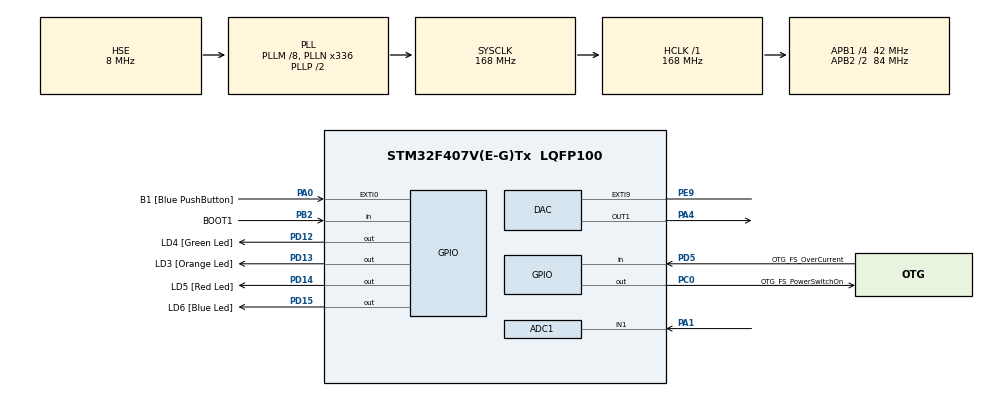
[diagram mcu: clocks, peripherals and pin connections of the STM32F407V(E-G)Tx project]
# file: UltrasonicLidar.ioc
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ADC1.Channel-0\#ChannelRegularConversion=ADC_CHANNEL_1
ADC1.DMAContinuousRequests=ENABLE
ADC1.ExternalTrigConv=ADC_EXTERNALTRIGCONV_T2_TRGO
ADC1.NbrOfConversion=1
ADC1.NbrOfConversionFlag=1
ADC1.Rank-0\#ChannelRegularConversion=1
ADC1.SamplingTime-0\#ChannelRegularConversion=ADC_SAMPLETIME_3CYCLES
ADC1.master=1
DAC.DAC_Trigger=DAC_TRIGGER_T2_TRGO
Dma.ADC1.1.Direction=DMA_PERIPH_TO_MEMORY
Dma.ADC1.1.FIFOMode=DMA_FIFOMODE_DISABLE
Dma.ADC1.1.Instance=DMA2_Stream0
Dma.ADC1.1.MemDataAlignment=DMA_MDATAALIGN_HALFWORD
Dma.ADC1.1.MemInc=DMA_MINC_ENABLE
Dma.ADC1.1.Mode=DMA_CIRCULAR
Dma.ADC1.1.PeriphDataAlignment=DMA_PDATAALIGN_HALFWORD
Dma.ADC1.1.PeriphInc=DMA_PINC_DISABLE
Dma.ADC1.1.Priority=DMA_PRIORITY_VERY_HIGH
Dma.DAC1.0.Direction=DMA_MEMORY_TO_PERIPH
Dma.DAC1.0.FIFOMode=DMA_FIFOMODE_DISABLE
Dma.DAC1.0.Instance=DMA1_Stream5
Dma.DAC1.0.MemDataAlignment=DMA_MDATAALIGN_HALFWORD
Dma.DAC1.0.MemInc=DMA_MINC_ENABLE
Dma.DAC1.0.Mode=DMA_CIRCULAR
Dma.DAC1.0.PeriphDataAlignment=DMA_PDATAALIGN_HALFWORD
Dma.DAC1.0.PeriphInc=DMA_PINC_DISABLE
Dma.DAC1.0.Priority=DMA_PRIORITY_HIGH
Dma.Request0=DAC1
Dma.Request1=ADC1
Mcu.Family=STM32F4
Mcu.Name=STM32F407V(E-G)Tx
Mcu.Package=LQFP100
NVIC.DMA1_Stream5_IRQn=true\:0\:0\:false\:false\:true\:false\:true
NVIC.DMA2_Stream0_IRQn=true\:0\:0\:false\:false\:true\:false\:true
NVIC.PriorityGroup=NVIC_PRIORITYGROUP_0
NVIC.TIM6_DAC_IRQn=true\:0\:0\:false\:false\:true\:true\:true
PA0-WKUP.GPIO_Label=B1 [Blue PushButton]
PA0-WKUP.GPIO_ModeDefaultEXTI=GPIO_MODE_EVT_RISING
PA0-WKUP.GPIO_PuPd=GPIO_NOPULL
PA0-WKUP.Signal=GPXTI0
PA1.Signal=ADCx_IN1
PA10.GPIO_Label=OTG_FS_ID
PA10.GPIO_Mode=GPIO_MODE_AF_PP
PA10.GPIO_PuPd=GPIO_NOPULL
PA10.GPIO_Speed=GPIO_SPEED_FREQ_LOW
PA10.Signal=USB_OTG_FS_ID
PA11.GPIO_Label=OTG_FS_DM
PA11.GPIO_Mode=GPIO_MODE_AF_PP
PA11.GPIO_PuPd=GPIO_NOPULL
PA11.GPIO_Speed=GPIO_SPEED_FREQ_LOW
PA11.Signal=USB_OTG_FS_DM
PA12.GPIO_Label=OTG_FS_DP
PA12.GPIO_Mode=GPIO_MODE_AF_PP
PA12.GPIO_PuPd=GPIO_NOPULL
PA12.GPIO_Speed=GPIO_SPEED_FREQ_LOW
PA12.Signal=USB_OTG_FS_DP
PA13.GPIO_Label=SWDIO
PA13.Mode=Serial_Wire
PA13.Signal=SYS_JTMS-SWDIO
PA14.GPIO_Label=SWCLK
PA14.Mode=Serial_Wire
PA14.Signal=SYS_JTCK-SWCLK
PA4.Signal=COMP_DAC1_group
PA9.GPIO_Label=VBUS_FS
PA9.GPIO_Mode=GPIO_MODE_INPUT
PA9.GPIO_PuPd=GPIO_NOPULL
PA9.Signal=USB_OTG_FS_VBUS
PB2.GPIO_Label=BOOT1
PB2.GPIO_Mode=GPIO_MODE_INPUT
PB2.GPIO_PuPd=GPIO_NOPULL
PB2.Signal=GPIO_Input
PB3.GPIO_Label=SWO
PB3.Signal=SYS_JTDO-SWO
PC0.GPIO_Label=OTG_FS_PowerSwitchOn
PC0.GPIO_PuPd=GPIO_NOPULL
PC0.GPIO_Speed=GPIO_SPEED_FREQ_LOW
PC0.PinState=GPIO_PIN_SET
PC0.Signal=GPIO_Output
PC14-OSC32_IN.Signal=RCC_OSC32_IN
PC15-OSC32_OUT.Signal=RCC_OSC32_OUT
PD12.GPIO_Label=LD4 [Green Led]
PD12.GPIO_PuPd=GPIO_NOPULL
PD12.GPIO_Speed=GPIO_SPEED_FREQ_LOW
PD12.Signal=GPIO_Output
PD13.GPIO_Label=LD3 [Orange Led]
PD13.GPIO_PuPd=GPIO_NOPULL
PD13.GPIO_Speed=GPIO_SPEED_FREQ_LOW
PD13.Signal=GPIO_Output
PD14.GPIO_Label=LD5 [Red Led]
PD14.GPIO_PuPd=GPIO_NOPULL
PD14.GPIO_Speed=GPIO_SPEED_FREQ_LOW
PD14.Signal=GPIO_Output
PD15.GPIO_Label=LD6 [Blue Led]
PD15.GPIO_PuPd=GPIO_NOPULL
PD15.GPIO_Speed=GPIO_SPEED_FREQ_LOW
PD15.Signal=GPIO_Output
PD5.GPIO_Label=OTG_FS_OverCurrent
PD5.GPIO_Mode=GPIO_MODE_INPUT
PD5.GPIO_PuPd=GPIO_NOPULL
PD5.Signal=GPIO_Input
PE9.Signal=GPXTI9
PH0-OSC_IN.GPIO_Label=PH0-OSC_IN
PH0-OSC_IN.Mode=HSE-External-Oscillator
PH0-OSC_IN.Signal=RCC_OSC_IN
PH1-OSC_OUT.GPIO_Label=PH1-OSC_OUT
PH1-OSC_OUT.Mode=HSE-External-Oscillator
PH1-OSC_OUT.Signal=RCC_OSC_OUT
ProjectManager.HeapSize=0x200
ProjectManager.StackSize=0x400
ProjectManager.TargetToolchain=Makefile
RCC.48MHZClocksFreq_Value=48000000
RCC.AHBFreq_Value=168000000
RCC.APB1CLKDivider=RCC_HCLK_DIV4
RCC.APB1Freq_Value=42000000
RCC.APB1TimFreq_Value=84000000
RCC.APB2CLKDivider=RCC_HCLK_DIV2
RCC.APB2Freq_Value=84000000
RCC.APB2TimFreq_Value=168000000
RCC.CortexFreq_Value=168000000
RCC.HCLKFreq_Value=168000000
RCC.HSE_VALUE=8000000
RCC.HSI_VALUE=16000000
RCC.PLLM=8
RCC.PLLN=336
RCC.PLLQ=7
RCC.PLLSourceVirtual=RCC_PLLSOURCE_HSE
RCC.SYSCLKFreq_VALUE=168000000
RCC.SYSCLKSource=RCC_SYSCLKSOURCE_PLLCLK
RCC.VCOOutputFreq_Value=336000000
SH.ADCx_IN1.0=ADC1_IN1,IN1
SH.COMP_DAC1_group.0=DAC_OUT1,DAC_OUT1
TIM2.TIM_MasterOutputTrigger=TIM_TRGO_UPDATE
TIM2.TIM_MasterSlaveMode=TIM_MASTERSLAVEMODE_DISABLE
VP_TIM2_VS_ClockSourceINT.Mode=Internal
VP_TIM6_VS_ClockSourceINT.Mode=Enable_Timer
board=STM32F4DISCOVERY

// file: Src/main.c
/* USER CODE BEGIN Header */
/**
  ******************************************************************************
  * @file           : main.c
  * @brief          : Main program body
  ******************************************************************************
  * @attention
  *
  * <h2><center>&copy; Copyright (c) 2019 STMicroelectronics.
  * All rights reserved.</center></h2>
  *
  * This software component is licensed by ST under BSD 3-Clause license,
  * the "License"; You may not use this file except in compliance with the
  * License. You may obtain a copy of the License at:
  *                        opensource.org/licenses/BSD-3-Clause
  *
  ******************************************************************************
  */
/* USER CODE END Header */

#include <stdio.h>
#include <stdlib.h>
#include "main.h"
#include "math.h"

/* USER CODE BEGIN PTD */
typedef struct
{
	float real;
	float img;
} Complex_t;

/* USER CODE END PTD */

/* USER CODE BEGIN PD */
#define SAMPLING_FREQ 120000
#define CARRIER_FREQ 40000
#define START_FREQ 16
#define STOP_FREQ 4096
#define FREQ_STEPS 16
#define FREQ_BAND (STOP_FREQ - START_FREQ)
#define NUM_OF_FREQS (1 + FREQ_BAND / FREQ_STEPS)
#define GROUP_ELEMENT_COUNT 8
#define GROUP_BAND (FREQ_STEPS * GROUP_ELEMENT_COUNT)
#define GROUP_COUNT (NUM_OF_FREQS / GROUP_ELEMENT_COUNT)
#define SAMPLE_POINTS (SAMPLING_FREQ / FREQ_STEPS)
#define BUFFER_ELEMENT_COUNT (SAMPLE_POINTS * 2)
#define TRANSFER_COMPLETED_EVT ((uint16_t)(1U << 0))

/* USER CODE END PD */

ADC_HandleTypeDef hadc1;
DMA_HandleTypeDef hdma_adc1;

DAC_HandleTypeDef hdac;
DMA_HandleTypeDef hdma_dac1;

TIM_HandleTypeDef htim2;
TIM_HandleTypeDef htim6;

/* USER CODE BEGIN PV */
uint16_t ADCBuffer[BUFFER_ELEMENT_COUNT];
uint16_t DACTable[BUFFER_ELEMENT_COUNT];

Complex_t FreqResponse[NUM_OF_FREQS];

float Signal[NUM_OF_FREQS];

volatile uint16_t Flags;
uint32_t TickDifferenceTable;
uint32_t TickDifferenceFreqResp;
uint32_t TickDifferenceWait;

/* USER CODE END PV */

void SystemClock_Config(void);
static void MX_GPIO_Init(void);
static void MX_DMA_Init(void);
static void MX_ADC1_Init(void);
static void MX_DAC_Init(void);
static void MX_TIM2_Init(void);
static void MX_TIM6_Init(void);

/* USER CODE BEGIN PFP */
void StartADC(void);
void StartDAC(void);
void StartMasterTimer(void);
void StopMasterTimer(void);

void CreateDACTable(uint16_t startFreq, uint16_t freqSteps, uint16_t numOfFreqs,
				    uint32_t samplingFreq, uint32_t carrierFreq, uint16_t *table,
					uint16_t *elementCount);

void CalculateFreqResponse(Complex_t *respVector, uint16_t startFreq, uint16_t freqSteps,
				  uint16_t numOfFreqs, uint32_t samplingFreq, uint16_t carrierFreq,
				  uint16_t *buffer, uint16_t elementCount);

void IFFT(Complex_t *respVector, uint16_t startFreq, uint16_t freqSteps,
		  uint16_t numOfFreqs, uint16_t resolution, float *signal);

/* USER CODE END PFP */

int main(void)
{

  /* MCU Configuration--------------------------------------------------------*/

  /* Reset of all peripherals, Initializes the Flash interface and the Systick. */
  HAL_Init();

  /* Configure the system clock */
  SystemClock_Config();

  /* Initialize all configured peripherals */
  MX_GPIO_Init();
  MX_DMA_Init();
  MX_ADC1_Init();
  MX_DAC_Init();
  MX_TIM2_Init();
  MX_TIM6_Init();

  /* USER CODE END 2 */
  Flags = 0;
  uint16_t element_count;

  StartADC();
  StartDAC();

  // Create DAC table for the first group.
  CreateDACTable(START_FREQ, FREQ_STEPS, GROUP_ELEMENT_COUNT,
  		  		 SAMPLING_FREQ, CARRIER_FREQ, &DACTable[0],
  				 &element_count);

  StartMasterTimer();

  /* Infinite loop */
  /* USER CODE BEGIN WHILE */
  while (1)
  {
	  // For each frequency group obtain response.
	  for (uint8_t g = 0; g < GROUP_COUNT; g++)
	  {
		  uint16_t dac_start_freq;
		  uint16_t adc_start_freq;
		  uint16_t dac_buff_offset;
		  uint16_t adc_buff_offset;
		  uint32_t tick_hold;

		  dac_start_freq = (((g + 1) == GROUP_COUNT) ? 0: g+1) * GROUP_BAND + START_FREQ;
		  dac_buff_offset = SAMPLE_POINTS * ((g + 1) & 0x0001);

		  tick_hold = HAL_GetTick();

		  // Create DAC table for the next group.
		  CreateDACTable(dac_start_freq, FREQ_STEPS, GROUP_ELEMENT_COUNT,
		  				 SAMPLING_FREQ, CARRIER_FREQ, &DACTable[dac_buff_offset],
						 &element_count);

		  TickDifferenceTable = HAL_GetTick() - tick_hold;

		  tick_hold = HAL_GetTick();

		  // Wait until transfer is completed.
		  while (!(Flags & TRANSFER_COMPLETED_EVT));
		  Flags ^= TRANSFER_COMPLETED_EVT;

		  TickDifferenceWait = HAL_GetTick() - tick_hold;

		  tick_hold = HAL_GetTick();

		  adc_buff_offset = SAMPLE_POINTS * (g & 0x0001);
		  adc_start_freq = g * GROUP_BAND + START_FREQ;

		  // Calculate frequency response.
		  CalculateFreqResponse(&FreqResponse[g * GROUP_ELEMENT_COUNT],
				  	  	  	    adc_start_freq, FREQ_STEPS,
								GROUP_ELEMENT_COUNT, SAMPLING_FREQ, CARRIER_FREQ,
								&ADCBuffer[adc_buff_offset], element_count);

		  TickDifferenceFreqResp = HAL_GetTick() - tick_hold;
	  }

	  IFFT(FreqResponse, START_FREQ, FREQ_STEPS, NUM_OF_FREQS,
	  	   NUM_OF_FREQS, Signal);
  }

}

void StartADC(void)
{
	// Start ADC.
	if(HAL_ADC_Start_DMA(&hadc1, (uint32_t *)ADCBuffer,
			BUFFER_ELEMENT_COUNT) != HAL_OK)
	{
		while(1);
	}
}

void StartDAC(void)
{
	// Start DAC.
	if (HAL_DAC_Start_DMA(&hdac, DAC_CHANNEL_1,
			(uint32_t *)DACTable, BUFFER_ELEMENT_COUNT, DAC_ALIGN_12B_R) != HAL_OK)
	{
		while(1);
	}
}

void StartMasterTimer(void)
{
	// Start time base.
	if(HAL_TIM_Base_Start(&htim2) != HAL_OK)
	{
		while(1);
	}
}

void StopMasterTimer(void)
{
	if (HAL_TIM_Base_Stop(&htim2) != HAL_OK)
	{
		while (1);
	}
}

void SystemClock_Config(void)
{
  RCC_OscInitTypeDef RCC_OscInitStruct = {0};
  RCC_ClkInitTypeDef RCC_ClkInitStruct = {0};

  /** Configure the main internal regulator output voltage
  */
  __HAL_RCC_PWR_CLK_ENABLE();
  __HAL_PWR_VOLTAGESCALING_CONFIG(PWR_REGULATOR_VOLTAGE_SCALE1);
  /** Initializes the CPU, AHB and APB busses clocks
  */
  RCC_OscInitStruct.OscillatorType = RCC_OSCILLATORTYPE_HSE;
  RCC_OscInitStruct.HSEState = RCC_HSE_ON;
  RCC_OscInitStruct.PLL.PLLState = RCC_PLL_ON;
  RCC_OscInitStruct.PLL.PLLSource = RCC_PLLSOURCE_HSE;
  RCC_OscInitStruct.PLL.PLLM = 8;
  RCC_OscInitStruct.PLL.PLLN = 336;
  RCC_OscInitStruct.PLL.PLLP = RCC_PLLP_DIV2;
  RCC_OscInitStruct.PLL.PLLQ = 7;
  if (HAL_RCC_OscConfig(&RCC_OscInitStruct) != HAL_OK)
  {
    Error_Handler();
  }
  /** Initializes the CPU, AHB and APB busses clocks
  */
  RCC_ClkInitStruct.ClockType = RCC_CLOCKTYPE_HCLK|RCC_CLOCKTYPE_SYSCLK
                              |RCC_CLOCKTYPE_PCLK1|RCC_CLOCKTYPE_PCLK2;
  RCC_ClkInitStruct.SYSCLKSource = RCC_SYSCLKSOURCE_PLLCLK;
  RCC_ClkInitStruct.AHBCLKDivider = RCC_SYSCLK_DIV1;
  RCC_ClkInitStruct.APB1CLKDivider = RCC_HCLK_DIV4;
  RCC_ClkInitStruct.APB2CLKDivider = RCC_HCLK_DIV2;

  if (HAL_RCC_ClockConfig(&RCC_ClkInitStruct, FLASH_LATENCY_5) != HAL_OK)
  {
    Error_Handler();
  }
}

static void MX_ADC1_Init(void)
{

  ADC_ChannelConfTypeDef sConfig = {0};

  /** Configure the global features of the ADC (Clock, Resolution, Data Alignment and number of conversion)
  */
  hadc1.Instance = ADC1;
  hadc1.Init.ClockPrescaler = ADC_CLOCK_SYNC_PCLK_DIV4;
  hadc1.Init.Resolution = ADC_RESOLUTION_12B;
  hadc1.Init.ScanConvMode = DISABLE;
  hadc1.Init.ContinuousConvMode = DISABLE;
  hadc1.Init.DiscontinuousConvMode = DISABLE;
  hadc1.Init.ExternalTrigConvEdge = ADC_EXTERNALTRIGCONVEDGE_RISING;
  hadc1.Init.ExternalTrigConv = ADC_EXTERNALTRIGCONV_T2_TRGO;
  hadc1.Init.DataAlign = ADC_DATAALIGN_RIGHT;
  hadc1.Init.NbrOfConversion = 1;
  hadc1.Init.DMAContinuousRequests = ENABLE;
  hadc1.Init.EOCSelection = ADC_EOC_SINGLE_CONV;
  if (HAL_ADC_Init(&hadc1) != HAL_OK)
  {
    Error_Handler();
  }
  /** Configure for the selected ADC regular channel its corresponding rank in the sequencer and its sample time.
  */
  sConfig.Channel = ADC_CHANNEL_1;
  sConfig.Rank = 1;
  sConfig.SamplingTime = ADC_SAMPLETIME_15CYCLES;
  if (HAL_ADC_ConfigChannel(&hadc1, &sConfig) != HAL_OK)
  {
    Error_Handler();
  }

}

static void MX_DAC_Init(void)
{

  DAC_ChannelConfTypeDef sConfig = {0};

  /** DAC Initialization
  */
  hdac.Instance = DAC;
  if (HAL_DAC_Init(&hdac) != HAL_OK)
  {
    Error_Handler();
  }
  /** DAC channel OUT1 config
  */
  sConfig.DAC_Trigger = DAC_TRIGGER_T2_TRGO;
  sConfig.DAC_OutputBuffer = DAC_OUTPUTBUFFER_ENABLE;
  if (HAL_DAC_ConfigChannel(&hdac, &sConfig, DAC_CHANNEL_1) != HAL_OK)
  {
    Error_Handler();
  }

}

static void MX_TIM2_Init(void)
{

  TIM_ClockConfigTypeDef sClockSourceConfig = {0};
  TIM_MasterConfigTypeDef sMasterConfig = {0};

  htim2.Instance = TIM2;
  htim2.Init.Prescaler = 0;
  htim2.Init.CounterMode = TIM_COUNTERMODE_UP;
  htim2.Init.Period = (84000000 / SAMPLING_FREQ);
  htim2.Init.ClockDivision = TIM_CLOCKDIVISION_DIV1;
  htim2.Init.AutoReloadPreload = TIM_AUTORELOAD_PRELOAD_DISABLE;
  if (HAL_TIM_Base_Init(&htim2) != HAL_OK)
  {
    Error_Handler();
  }
  sClockSourceConfig.ClockSource = TIM_CLOCKSOURCE_INTERNAL;
  if (HAL_TIM_ConfigClockSource(&htim2, &sClockSourceConfig) != HAL_OK)
  {
    Error_Handler();
  }
  sMasterConfig.MasterOutputTrigger = TIM_TRGO_UPDATE;
  sMasterConfig.MasterSlaveMode = TIM_MASTERSLAVEMODE_DISABLE;
  if (HAL_TIMEx_MasterConfigSynchronization(&htim2, &sMasterConfig) != HAL_OK)
  {
    Error_Handler();
  }

}

static void MX_TIM6_Init(void)
{

  TIM_MasterConfigTypeDef sMasterConfig = {0};

  htim6.Instance = TIM6;
  htim6.Init.Prescaler = 0;
  htim6.Init.CounterMode = TIM_COUNTERMODE_UP;
  htim6.Init.Period = 0;
  htim6.Init.AutoReloadPreload = TIM_AUTORELOAD_PRELOAD_DISABLE;
  if (HAL_TIM_Base_Init(&htim6) != HAL_OK)
  {
    Error_Handler();
  }
  sMasterConfig.MasterOutputTrigger = TIM_TRGO_RESET;
  sMasterConfig.MasterSlaveMode = TIM_MASTERSLAVEMODE_DISABLE;
  if (HAL_TIMEx_MasterConfigSynchronization(&htim6, &sMasterConfig) != HAL_OK)
  {
    Error_Handler();
  }

}

static void MX_DMA_Init(void)
{
  /* DMA controller clock enable */
  __HAL_RCC_DMA1_CLK_ENABLE();
  __HAL_RCC_DMA2_CLK_ENABLE();

  /* DMA interrupt init */
  /* DMA1_Stream5_IRQn interrupt configuration */
  HAL_NVIC_SetPriority(DMA1_Stream5_IRQn, 0, 0);
  HAL_NVIC_EnableIRQ(DMA1_Stream5_IRQn);
  /* DMA2_Stream0_IRQn interrupt configuration */
  HAL_NVIC_SetPriority(DMA2_Stream0_IRQn, 0, 0);
  HAL_NVIC_EnableIRQ(DMA2_Stream0_IRQn);

}

static void MX_GPIO_Init(void)
{
  GPIO_InitTypeDef GPIO_InitStruct = {0};

  /* GPIO Ports Clock Enable */
  __HAL_RCC_GPIOC_CLK_ENABLE();
  __HAL_RCC_GPIOH_CLK_ENABLE();
  __HAL_RCC_GPIOA_CLK_ENABLE();
  __HAL_RCC_GPIOB_CLK_ENABLE();
  __HAL_RCC_GPIOE_CLK_ENABLE();
  __HAL_RCC_GPIOD_CLK_ENABLE();

  /*Configure GPIO pin Output Level */
  HAL_GPIO_WritePin(OTG_FS_PowerSwitchOn_GPIO_Port, OTG_FS_PowerSwitchOn_Pin, GPIO_PIN_SET);

  /*Configure GPIO pin Output Level */
  HAL_GPIO_WritePin(GPIOD, LD4_Pin|LD3_Pin|LD5_Pin|LD6_Pin, GPIO_PIN_RESET);

  /*Configure GPIO pin : OTG_FS_PowerSwitchOn_Pin */
  GPIO_InitStruct.Pin = OTG_FS_PowerSwitchOn_Pin;
  GPIO_InitStruct.Mode = GPIO_MODE_OUTPUT_PP;
  GPIO_InitStruct.Pull = GPIO_NOPULL;
  GPIO_InitStruct.Speed = GPIO_SPEED_FREQ_LOW;
  HAL_GPIO_Init(OTG_FS_PowerSwitchOn_GPIO_Port, &GPIO_InitStruct);

  /*Configure GPIO pin : B1_Pin */
  GPIO_InitStruct.Pin = B1_Pin;
  GPIO_InitStruct.Mode = GPIO_MODE_EVT_RISING;
  GPIO_InitStruct.Pull = GPIO_NOPULL;
  HAL_GPIO_Init(B1_GPIO_Port, &GPIO_InitStruct);

  /*Configure GPIO pin : BOOT1_Pin */
  GPIO_InitStruct.Pin = BOOT1_Pin;
  GPIO_InitStruct.Mode = GPIO_MODE_INPUT;
  GPIO_InitStruct.Pull = GPIO_NOPULL;
  HAL_GPIO_Init(BOOT1_GPIO_Port, &GPIO_InitStruct);

  /*Configure GPIO pin : PE9 */
  GPIO_InitStruct.Pin = GPIO_PIN_9;
  GPIO_InitStruct.Mode = GPIO_MODE_IT_RISING;
  GPIO_InitStruct.Pull = GPIO_NOPULL;
  HAL_GPIO_Init(GPIOE, &GPIO_InitStruct);

  /*Configure GPIO pins : LD4_Pin LD3_Pin LD5_Pin LD6_Pin */
  GPIO_InitStruct.Pin = LD4_Pin|LD3_Pin|LD5_Pin|LD6_Pin;
  GPIO_InitStruct.Mode = GPIO_MODE_OUTPUT_PP;
  GPIO_InitStruct.Pull = GPIO_NOPULL;
  GPIO_InitStruct.Speed = GPIO_SPEED_FREQ_LOW;
  HAL_GPIO_Init(GPIOD, &GPIO_InitStruct);

  /*Configure GPIO pin : VBUS_FS_Pin */
  GPIO_InitStruct.Pin = VBUS_FS_Pin;
  GPIO_InitStruct.Mode = GPIO_MODE_INPUT;
  GPIO_InitStruct.Pull = GPIO_NOPULL;
  HAL_GPIO_Init(VBUS_FS_GPIO_Port, &GPIO_InitStruct);

  /*Configure GPIO pins : OTG_FS_ID_Pin OTG_FS_DM_Pin OTG_FS_DP_Pin */
  GPIO_InitStruct.Pin = OTG_FS_ID_Pin|OTG_FS_DM_Pin|OTG_FS_DP_Pin;
  GPIO_InitStruct.Mode = GPIO_MODE_AF_PP;
  GPIO_InitStruct.Pull = GPIO_NOPULL;
  GPIO_InitStruct.Speed = GPIO_SPEED_FREQ_LOW;
  GPIO_InitStruct.Alternate = GPIO_AF10_OTG_FS;
  HAL_GPIO_Init(GPIOA, &GPIO_InitStruct);

  /*Configure GPIO pin : OTG_FS_OverCurrent_Pin */
  GPIO_InitStruct.Pin = OTG_FS_OverCurrent_Pin;
  GPIO_InitStruct.Mode = GPIO_MODE_INPUT;
  GPIO_InitStruct.Pull = GPIO_NOPULL;
  HAL_GPIO_Init(OTG_FS_OverCurrent_GPIO_Port, &GPIO_InitStruct);

}

/* USER CODE BEGIN 4 */
void HAL_ADC_ConvHalfCpltCallback(ADC_HandleTypeDef* hadc)
{
  /* Prevent unused argument(s) compilation warning */
  UNUSED(hadc);
  Flags |= TRANSFER_COMPLETED_EVT;
}

/* USER CODE BEGIN 4 */
void HAL_ADC_ConvCpltCallback(ADC_HandleTypeDef* hadc)
{
  /* Prevent unused argument(s) compilation warning */
  UNUSED(hadc);
  Flags |= TRANSFER_COMPLETED_EVT;
}
/* USER CODE END 4 */

void Error_Handler(void)
{
}

void CalculateFreqResponse(Complex_t *respVector, uint16_t startFreq, uint16_t freqSteps,
				  uint16_t numOfFreqs, uint32_t samplingFreq, uint16_t carrierFreq,
				  uint16_t *buffer, uint16_t elementCount)
{
	const float two_pi = 2 * 3.1415926535897;
	float intermediate_signal;
	float sum_x;
	float sum_y;
	float tmp_x;
	Complex_t carrier_phasor;
	Complex_t if_phasor;
	Complex_t carrier_rotate;
	Complex_t if_rotate;

	carrier_rotate.real = cos((two_pi * carrierFreq) / samplingFreq);
	carrier_rotate.img = -sin((two_pi * carrierFreq) / samplingFreq);

	// Demodulate and find frequency response.
	for (uint16_t i = 0; i < numOfFreqs; i++)
	{
		sum_x = 0;
		sum_y = 0;

		carrier_phasor.real = 1.0;
		carrier_phasor.img = 0.0;
		if_phasor.real = 1.0;
		if_phasor.img = 0.0;

		if_rotate.real = cos((two_pi * (startFreq + freqSteps * i)) / samplingFreq);
		if_rotate.img = -sin((two_pi * (startFreq + freqSteps * i)) / samplingFreq);

		for (uint16_t j = 0; j < elementCount; j++)
		{
			intermediate_signal = buffer[j] * carrier_phasor.real;

			sum_x += intermediate_signal * if_phasor.real;
			sum_y += intermediate_signal * if_phasor.img;

			// Rotate carrier and intermediate signal.
			tmp_x = carrier_phasor.real * carrier_rotate.real - carrier_phasor.img * carrier_rotate.img;
			carrier_phasor.img = carrier_phasor.real * carrier_rotate.img + carrier_phasor.img * carrier_rotate.real;
			carrier_phasor.real = tmp_x;

			tmp_x = if_phasor.real * if_rotate.real - if_phasor.img * if_rotate.img;
			if_phasor.img  = if_phasor.real * if_rotate.img + if_phasor.img * if_rotate.real;
			if_phasor.real = tmp_x;
		}

		respVector[i].real = sum_x;
		respVector[i].img = sum_y;
	}
}

void CreateDACTable(uint16_t startFreq, uint16_t freqSteps, uint16_t numOfFreqs,
				    uint32_t samplingFreq, uint32_t carrierFreq, uint16_t *table,
					uint16_t *elementCount)
{
	uint16_t __element_count;
	uint16_t dac_value;
	Complex_t start_freq_phasor;
	Complex_t start_freq_rotate;
	Complex_t freq_step_phasor;
	Complex_t freq_step_rotate;
	Complex_t diff_freq_phasor;
	Complex_t carrier_phasor;
	Complex_t carrier_rotate;

	float tmp_x;
	float sum;
	const float two_pi = 2 * 3.1415926535897;
	const float safety_scale = 0.999;
	float scale;

	__element_count = samplingFreq / freqSteps;

	scale = safety_scale / numOfFreqs;

	carrier_phasor.real = 1.0;
	carrier_phasor.img = 0.0;
	start_freq_phasor.real = 1.0;
	start_freq_phasor.img = 0.0;
	freq_step_phasor.real = 1.0;
	freq_step_phasor.img = 0.0;

	start_freq_rotate.real = cos(two_pi * startFreq / samplingFreq);
	start_freq_rotate.img = sin(two_pi * startFreq / samplingFreq);
	freq_step_rotate.real = cos(two_pi * freqSteps / samplingFreq);
	freq_step_rotate.img = sin(two_pi * freqSteps / samplingFreq);
	carrier_rotate.real = cos(two_pi * carrierFreq / samplingFreq);
	carrier_rotate.img = sin(two_pi * carrierFreq / samplingFreq);

	for (uint16_t i = 0; i < __element_count; i++)
	{
		sum = 0.0f;

		diff_freq_phasor.real = start_freq_phasor.real;
		diff_freq_phasor.img = start_freq_phasor.img;

		// Sum different frequency components.
		for (uint16_t j = 0; j < numOfFreqs; j++)
		{
			sum += diff_freq_phasor.real;

			// Rotate to obtain for different frequencies.
			tmp_x = diff_freq_phasor.real * freq_step_phasor.real - diff_freq_phasor.img * freq_step_phasor.img;
			diff_freq_phasor.img = diff_freq_phasor.real * freq_step_phasor.img + diff_freq_phasor.img * freq_step_phasor.real;
			diff_freq_phasor.real = tmp_x;
		}

		// Modulate.
		sum *= carrier_phasor.real;

		// Calculate DAC value.
		dac_value = (1.0f + sum * scale) * (1 << 11);
		table[i] = dac_value;

		// Rotate start_freq component.
		tmp_x = start_freq_phasor.real * start_freq_rotate.real - start_freq_phasor.img * start_freq_rotate.img;
		start_freq_phasor.img = start_freq_phasor.real * start_freq_rotate.img + start_freq_phasor.img * start_freq_rotate.real;
		start_freq_phasor.real = tmp_x;

		// Rotate freq step component.
		tmp_x = freq_step_phasor.real * freq_step_rotate.real - freq_step_phasor.img * freq_step_rotate.img;
		freq_step_phasor.img = freq_step_phasor.real * freq_step_rotate.img + freq_step_phasor.img * freq_step_rotate.real;
		freq_step_phasor.real = tmp_x;

		// Rotate carrier.
		tmp_x = carrier_phasor.real * carrier_rotate.real - carrier_phasor.img * carrier_rotate.img;
		carrier_phasor.img = carrier_phasor.real * carrier_rotate.img + carrier_phasor.img * carrier_rotate.real;
		carrier_phasor.real = tmp_x;
	}

	*elementCount = __element_count;
}

void IFFT(Complex_t *respVector, uint16_t startFreq, uint16_t freqSteps,
		  uint16_t numOfFreqs, uint16_t resolution, float *signal)
{
	Complex_t start_freq_phasor;
	Complex_t start_freq_rotate;
	Complex_t freq_step_phasor;
	Complex_t freq_step_rotate;
	Complex_t diff_freq_phasor;

	float tmp_x;
	float sum_x;
	float sum_y;
	float power = 0;
	const float two_pi = 2 * 3.1415926535897;
	float buff[NUM_OF_FREQS];

	start_freq_phasor.real = 1.0;
	start_freq_phasor.img = 0.0;
	freq_step_phasor.real = 1.0;
	freq_step_phasor.img = 0.0;

	start_freq_rotate.real = cos(((two_pi * startFreq) / freqSteps) / resolution);
	start_freq_rotate.img = sin(((two_pi * startFreq) / freqSteps) / resolution);
	freq_step_rotate.real = cos(two_pi / resolution);
	freq_step_rotate.img = sin(two_pi / resolution);

	for (uint16_t i = 0; i < resolution; i++)
	{
		sum_x = 0.0f;
		sum_y = 0.0f;

		diff_freq_phasor.real = start_freq_phasor.real;
		diff_freq_phasor.img = start_freq_phasor.img;

		// Sum different frequency components.
		for (uint16_t j = 0; j < numOfFreqs; j++)
		{
			float x;
			float y;

			// Add base rotation.
			x = diff_freq_phasor.real * respVector[j].real - diff_freq_phasor.img * respVector[j].img;
			y = diff_freq_phasor.real * respVector[j].img + diff_freq_phasor.img * respVector[j].real;

			sum_x += x;
			sum_y += y;

			// Rotate to obtain for different frequencies.
			tmp_x = diff_freq_phasor.real * freq_step_phasor.real - diff_freq_phasor.img * freq_step_phasor.img;
			diff_freq_phasor.img = diff_freq_phasor.real * freq_step_phasor.img + diff_freq_phasor.img * freq_step_phasor.real;
			diff_freq_phasor.real = tmp_x;
		}

		float __equivalent_power;
		__equivalent_power = (sum_x * sum_x + sum_y * sum_y) * (i + 3.5f) * (i + 3.5f);

		// Parse signal.
		buff[i] = __equivalent_power;
		power += __equivalent_power;

		// Rotate start_freq component.
		tmp_x = start_freq_phasor.real * start_freq_rotate.real - start_freq_phasor.img * start_freq_rotate.img;
		start_freq_phasor.img = start_freq_phasor.real * start_freq_rotate.img + start_freq_phasor.img * start_freq_rotate.real;
		start_freq_phasor.real = tmp_x;

		// Rotate freq step component.
		tmp_x = freq_step_phasor.real * freq_step_rotate.real - freq_step_phasor.img * freq_step_rotate.img;
		freq_step_phasor.img = freq_step_phasor.real * freq_step_rotate.img + freq_step_phasor.img * freq_step_rotate.real;
		freq_step_phasor.real = tmp_x;
	}

	for (int i = 0; i < numOfFreqs; i++)
	{
		signal[i] = sqrt(buff[i] / power);
	}
}

/************************ (C) COPYRIGHT STMicroelectronics *****END OF FILE****/
